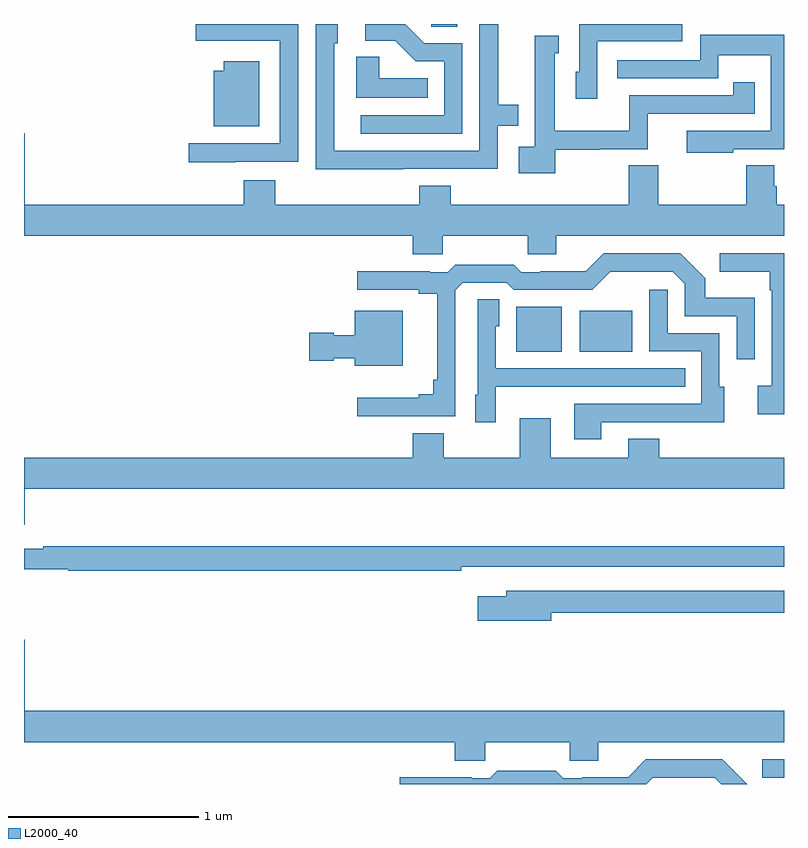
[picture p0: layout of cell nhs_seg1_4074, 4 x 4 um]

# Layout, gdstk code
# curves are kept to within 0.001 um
import gdstk
lib = gdstk.Library(unit=1e-6, precision=1e-09)
def R(c, l, rs):  # rectangles x0, y0, x1, y1
    for r in rs: c.add(gdstk.rectangle(r[:2], r[2:], *l))
def P(c, l, *ps):  # polygons
    for p in ps: c.add(gdstk.Polygon(p, *l))
L2000_40 = (2000, 40)

nhs_seg1_4074 = lib.new_cell('nhs_seg1_4074')
R(nhs_seg1_4074, L2000_40, [(336.885,530.231,337,530.328), (335.591,532.475,335.83,532.711), (335.924,532.475,336.202,532.69), (335.143,534.184,335.281,534.199)])
P(nhs_seg1_4074, L2000_40, [(335.307,534.099),(335.106,534.099),(335.006,534.199),(334.797,534.199),(334.797,534.111),(334.953,534.111),(335.061,534.003),(335.211,534.003),(335.211,533.718),(334.773,533.718),(334.773,533.622),(335.307,533.622)],
  [(334.111,533.475),(334.443,533.475),(334.443,534.199),(333.903,534.199),(333.903,534.111),(334.347,534.111),(334.347,533.571),(333.867,533.571),(333.867,533.471),(334.111,533.471)],
  [(336.018,534.108),(336.465,534.108),(336.465,534.199),(335.922,534.199),(335.922,533.949),(335.903,533.949),(335.903,533.805),(336.018,533.805)],
  [(334.997,533.436),(335.493,533.436),(335.493,533.664),(335.602,533.664),(335.602,533.773),(335.495,533.773),(335.495,534.199),(335.397,534.199),(335.397,533.532),(334.632,533.532),(334.632,534.099),(334.651,534.099),(334.651,534.199),(334.536,534.199),(334.536,533.435),(334.997,533.435)],
  [(336.733,533.541),(337,533.541),(337,534.142),(336.558,534.142),(336.558,534.009),(336.123,534.009),(336.123,533.913),(336.551,533.913),(336.551,533.914),(336.654,533.914),(336.654,534.035),(336.93,534.035),(336.93,533.637),(336.489,533.637),(336.489,533.522),(336.733,533.522)],
  [(335.797,533.536),(336.03,533.536),(336.03,533.541),(336.284,533.541),(336.284,533.727),(336.845,533.727),(336.845,533.893),(336.732,533.893),(336.732,533.823),(336.185,533.823),(336.185,533.638),(335.794,533.638),(335.794,534.045),(335.815,534.045),(335.815,534.138),(335.687,534.138),(335.687,533.65),(335.688,533.65),(335.688,533.554),(335.604,533.554),(335.604,533.414),(335.797,533.414)],
  [(335.126,533.914),(334.87,533.914),(334.87,534.026),(334.748,534.026),(334.748,533.81),(335.126,533.81)],
  [(334.237,534.004),(334.052,534.004),(334.052,533.953),(333.998,533.953),(333.998,533.66),(334.237,533.66)],
  [(335.205,533.084),(335.65,533.084),(335.65,532.986),(335.8,532.986),(335.8,533.084),(337,533.084),(337,533.248),(336.962,533.248),(336.962,533.346),(336.949,533.346),(336.949,533.456),(336.802,533.456),(336.802,533.248),(336.339,533.248),(336.339,533.456),(336.184,533.456),(336.184,533.248),(335.246,533.248),(335.246,533.347),(335.081,533.347),(335.081,533.248),(334.322,533.248),(334.322,533.377),(334.157,533.377),(334.157,533.248),(333.004,533.248),(333.004,533.623),(333,533.623),(333,533.084),(335.045,533.084),(335.045,532.986),(335.205,532.986)],
  [(337,532.992),(336.663,532.992),(336.663,532.895),(336.924,532.895),(336.924,532.799),(336.936,532.799),(336.936,532.294),(336.861,532.294),(336.861,532.146),(337,532.146)],
  [(335.271,532.797),(335.31,532.836),(335.541,532.836),(335.577,532.8),(335.991,532.8),(336.086,532.895),(336.414,532.896),(336.477,532.833),(336.477,532.662),(336.75,532.662),(336.75,532.434),(336.846,532.434),(336.846,532.759),(336.585,532.759),(336.585,532.862),(336.454,532.992),(336.051,532.992),(335.957,532.898),(335.716,532.898),(335.716,532.893),(335.616,532.893),(335.577,532.933),(335.269,532.933),(335.229,532.893),(335.135,532.893),(335.135,532.898),(334.755,532.898),(334.755,532.8),(335.078,532.8),(335.078,532.778),(335.174,532.778),(335.174,532.327),(335.155,532.327),(335.155,532.25),(335.078,532.25),(335.078,532.231),(334.755,532.231),(334.755,532.134),(335.271,532.134)],
  [(336.037,532.104),(336.467,532.104),(336.467,532.103),(336.685,532.103),(336.685,532.29),(336.66,532.29),(336.66,532.572),(336.387,532.572),(336.387,532.801),(336.291,532.801),(336.291,532.476),(336.564,532.476),(336.564,532.2),(335.897,532.2),(335.897,532.014),(336.037,532.014)],
  [(335.484,532.289),(335.801,532.289),(335.801,532.29),(336.479,532.29),(336.479,532.386),(335.484,532.386),(335.484,532.608),(335.5,532.608),(335.5,532.751),(335.388,532.751),(335.388,532.248),(335.375,532.248),(335.375,532.104),(335.484,532.104)],
  [(334.993,532.69),(334.742,532.69),(334.742,532.561),(334.629,532.561),(334.629,532.574),(334.5,532.574),(334.5,532.427),(334.629,532.427),(334.629,532.439),(334.742,532.439),(334.742,532.4),(334.993,532.4)],
  [(333,531.564),(333.004,531.564),(333.004,531.752),(337,531.752),(337,531.916),(336.343,531.916),(336.343,532.015),(336.179,532.015),(336.179,531.916),(335.773,531.916),(335.773,532.123),(335.609,532.123),(335.609,531.916),(335.209,531.916),(335.209,532.045),(335.045,532.045),(335.045,531.916),(333,531.916)],
  [(335.3,531.342),(337,531.342),(337,531.451),(333.1,531.451),(333.1,531.438),(333,531.438),(333,531.33),(333.233,531.33),(333.233,531.322),(335.3,531.322)],
  [(335.776,531.1),(337,531.1),(337,531.216),(335.537,531.216),(335.537,531.187),(335.388,531.187),(335.388,531.058),(335.776,531.058)],
  [(335.427,530.42),(335.872,530.42),(335.872,530.322),(336.022,530.322),(336.022,530.42),(337,530.42),(337,530.584),(333.004,530.584),(333.004,530.959),(333,530.959),(333,530.42),(335.267,530.42),(335.267,530.322),(335.427,530.322)],
  [(336.308,530.231),(336.636,530.232),(336.669,530.199),(336.806,530.199),(336.676,530.328),(336.273,530.328),(336.179,530.234),(335.938,530.234),(335.938,530.229),(335.838,530.229),(335.799,530.269),(335.491,530.269),(335.451,530.229),(335.357,530.229),(335.357,530.234),(334.977,530.234),(334.977,530.199),(336.276,530.199)])

lib.write_gds('nhs_seg1_4074.gds')
